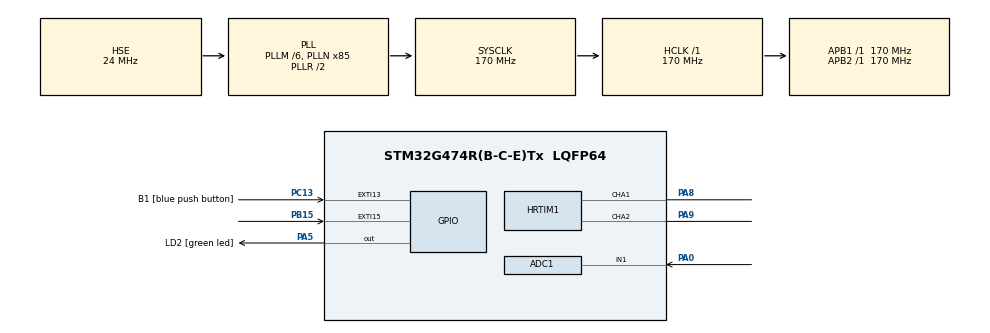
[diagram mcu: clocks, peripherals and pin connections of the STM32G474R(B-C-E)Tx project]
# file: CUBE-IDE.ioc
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ADC1.Channel-0\#ChannelRegularConversion=ADC_CHANNEL_1
ADC1.NbrOfConversionFlag=1
ADC1.OffsetNumber-0\#ChannelRegularConversion=ADC_OFFSET_NONE
ADC1.Rank-0\#ChannelRegularConversion=1
ADC1.SamplingTime-0\#ChannelRegularConversion=ADC_SAMPLETIME_12CYCLES_5
ADC1.master=1
HRTIM1.CompareUnit1-Output_TA1TA2=HRTIM_COMPAREUNIT_1
HRTIM1.CompareUnit2-Output_TA1TA2=HRTIM_COMPAREUNIT_2
HRTIM1.CompareUnit3-Output_TA1TA2=HRTIM_COMPAREUNIT_3
HRTIM1.CompareValue1-Output_TA1TA2=0
HRTIM1.CompareValue2-Output_TA1TA2=16320
HRTIM1.CompareValue3-Output_TA1TA2=0
HRTIM1.NumberResetSource1-Output_TA1TA2=1
HRTIM1.NumberResetSource2_TA=1
HRTIM1.NumberSetSource1-Output_TA1TA2=1
HRTIM1.NumberSetSource2_TA=1
HRTIM1.NumberUpdateTrigger-Output_TA1TA2=1
HRTIM1.Periode_TA=17000
HRTIM1.PreloadEnable-Output_TA1TA2=HRTIM_PRELOAD_ENABLED
HRTIM1.PrescalerRatio_TA=HRTIM_PRESCALERRATIO_MUL4
HRTIM1.ResetOutput1_Source1-Output_TA1TA2=HRTIM_OUTPUTRESET_TIMCMP1
HRTIM1.ResetOutput2_Source1-Output_TA1TA2=HRTIM_OUTPUTRESET_TIMCMP2
HRTIM1.ResetUpdate-Output_TA1TA2=HRTIM_TIMUPDATEONRESET_ENABLED
HRTIM1.SetOutput1_Source1-Output_TA1TA2=HRTIM_OUTPUTSET_TIMPER
HRTIM1.SetOutput2_Source1-Output_TA1TA2=HRTIM_OUTPUTSET_TIMCMP3
HRTIM1.UpdateTrigger1-Output_TA1TA2=HRTIM_TIMUPDATETRIGGER_TIMER_A
Mcu.Family=STM32G4
Mcu.Name=STM32G474R(B-C-E)Tx
Mcu.Package=LQFP64
NVIC.EXTI15_10_IRQn=true\:0\:0\:false\:false\:true\:true\:true\:true
NVIC.PriorityGroup=NVIC_PRIORITYGROUP_4
PA0.Mode=IN1-Single-Ended
PA0.Signal=ADC1_IN1
PA13.GPIO_Label=T_SWDIO
PA13.Signal=SYS_JTMS-SWDIO
PA14.GPIO_Label=T_SWCLK
PA14.Signal=SYS_JTCK-SWCLK
PA2.GPIO_Label=LPUART1_TX [STLINKV3E_VCP_RX]
PA2.Signal=LPUART1_TX
PA3.GPIO_Label=LPUART1_RX [STLINKV3E_VCP_TX]
PA3.Signal=LPUART1_RX
PA5.GPIO_Label=LD2 [green led]
PA5.Signal=GPIO_Output
PA8.Mode=Output_TA1TA2
PA8.Signal=HRTIM1_CHA1
PA9.Mode=Output_TA1TA2
PA9.Signal=HRTIM1_CHA2
PB15.GPIO_PuPd=GPIO_PULLUP
PB15.Signal=GPXTI15
PB3.GPIO_Label=T_SWO
PB3.Signal=SYS_JTDO-SWO
PC13.GPIO_Label=B1 [blue push button]
PC13.Signal=GPXTI13
PC14-OSC32_IN.GPIO_Label=RCC_OSC32_IN
PC14-OSC32_IN.Signal=RCC_OSC32_IN
PC15-OSC32_OUT.GPIO_Label=RCC_OSC32_OUT
PC15-OSC32_OUT.Signal=RCC_OSC32_OUT
PF0-OSC_IN.GPIO_Label=RCC_OSC_IN
PF0-OSC_IN.Mode=HSE-External-Oscillator
PF0-OSC_IN.Signal=RCC_OSC_IN
PF1-OSC_OUT.GPIO_Label=RCC_OSC_OUT
PF1-OSC_OUT.Mode=HSE-External-Oscillator
PF1-OSC_OUT.Signal=RCC_OSC_OUT
ProjectManager.HeapSize=0x200
ProjectManager.StackSize=0x400
ProjectManager.TargetToolchain=STM32CubeIDE
RCC.ADC12Freq_Value=170000000
RCC.ADC345Freq_Value=170000000
RCC.AHBFreq_Value=170000000
RCC.APB1Freq_Value=170000000
RCC.APB1TimFreq_Value=170000000
RCC.APB2Freq_Value=170000000
RCC.APB2TimFreq_Value=170000000
RCC.CortexFreq_Value=170000000
RCC.EXTERNAL_CLOCK_VALUE=12288000
RCC.HCLKFreq_Value=170000000
RCC.HSE_VALUE=24000000
RCC.HSI48_VALUE=48000000
RCC.HSI_VALUE=16000000
RCC.LSE_VALUE=32768
RCC.PLLM=RCC_PLLM_DIV6
RCC.PLLN=85
RCC.PLLSourceVirtual=RCC_PLLSOURCE_HSE
RCC.RTCClockSelection=RCC_RTCCLKSOURCE_LSE
RCC.SYSCLKFreq_VALUE=170000000
RCC.SYSCLKSource=RCC_SYSCLKSOURCE_PLLCLK
RCC.USBFreq_Value=170000000
RCC.VCOOutputFreq_Value=340000000
VP_HRTIM1_VS_hrtimMasterTimerNoOutput.Mode=MasterTimer
VP_SYS_VS_DBSignals.Mode=DisableDeadBatterySignals
board=NUCLEO-G474RE

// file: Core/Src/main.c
/* USER CODE BEGIN Header */
/**
  ******************************************************************************
  * @file           : main.c
  * @brief          : H-Bridge Motor Control — Complementary PWM with Dead-Time
  *
  * Architecture:
  *   - HRTIM Timer A: 40 kHz complementary PWM on TA1 / TA2
  *   - ADC1 Ch1    : Analogue duty-cycle reference (0–3.3 V → 0–1 duty)
  *   - PC13 (B1)   : Stop button  — triggers controlled ramp-down (State 2)
  *   - PB15        : Direction button — toggles direction A / B (State 0 / 1)
  *   - LD2 (PA5)   : Heartbeat / status LED
  *
  * Timing constants (f_HRCK = 170 MHz × 4 = 680 MHz):
  *   PER  = 680 MHz / 40 kHz = 17 000 ticks  (Timer A period)
  *   DT   = 1 µs × 680 MHz  =    680 ticks  (dead-time gap)
  *   CMP2 = PER − DT         = 16 320 ticks  (TA2 fixed reset for end-of-cycle DT)
  *
  * PWM event table:
  *   TA1 SET   ← Period event  (t = 0)          High-side ON
  *   TA1 RESET ← CMP1          (t = duty×PER)   High-side OFF
  *   TA2 SET   ← CMP3          (t = CMP1+680)   Low-side ON  (after 1 µs DT)
  *   TA2 RESET ← CMP2          (t = 16 320)     Low-side OFF (before next cycle)
  *
  * Control states:
  *   State 0  — Direction A : PWM drives TA1/TA2 (forward)
  *   State 1  — Direction B : PWM drives TA1/TA2 (reverse, complemented)
  *   State 2  — Stop        : Integrator ramps duty to 0, then outputs disabled
  ******************************************************************************
  */
/* USER CODE END Header */
#include "main.h"
#include <stdint.h>
#include <stdbool.h>

/* USER CODE BEGIN PTD */
typedef enum {
    STATE_DIR_A = 0,   /*!< Direction A — TA1 is the "driven" output */
    STATE_DIR_B = 1,   /*!< Direction B — TA2 is the "driven" output (phase reversed) */
    STATE_STOP  = 2    /*!< Controlled ramp-down to zero duty, then disable */
} MotorState_t;

/* USER CODE END PTD */

/* USER CODE BEGIN PD */

/* ── HRTIM timing constants ─────────────────────────────────────────────── */
#define HRTIM_PERIOD_TICKS      17000U   /*!< Timer A period  (680 MHz / 40 kHz) */
#define HRTIM_DT_TICKS            680U   /*!< Dead-time ticks (1 µs × 680 MHz)   */
#define HRTIM_CMP2_TICKS        16320U   /*!< Fixed TA2 reset = PER − DT          */

/* HRTIM enforces a minimum compare value of 3 ticks for correct operation.  */
#define HRTIM_CMP_MIN               3U

/* ── Duty-cycle limits (normalised 0.0 – 1.0) ───────────────────────────── */
#define DUTY_MIN                 0.0f
#define DUTY_MAX                 1.0f

/* ── Master ramp integrator ─────────────────────────────────────────────── */
/* Rate at which duty tracks the ADC reference per control loop iteration.   */
/* Tune RAMP_RATE to set acceleration / deceleration aggressiveness.         */
#define RAMP_RATE               0.001f   /*!< Δ duty per loop tick             */

/* ── ADC full-scale count for 12-bit resolution ─────────────────────────── */
#define ADC_FULL_SCALE          4095.0f

/* USER CODE END PD */

/* USER CODE BEGIN PM */
/** Clamp a float value between lo and hi */
#define CLAMP_F(x, lo, hi)  ( (x) < (lo) ? (lo) : ( (x) > (hi) ? (hi) : (x) ) )
/* USER CODE END PM */

ADC_HandleTypeDef hadc1;

HRTIM_HandleTypeDef hhrtim1;

/* USER CODE BEGIN PV */
/* ── Motor state machine ────────────────────────────────────────────────── */
static volatile MotorState_t motorState     = STATE_DIR_A;
static volatile MotorState_t dirBeforeStop  = STATE_DIR_A;  /* restored on stop exit */
static volatile bool         stopPend       = false;
static volatile bool         dirTogglePend  = false;
/* ── Master ramp integrator output (0.0 – 1.0) ──────────────────────────── */
static float 				 masterDuty = 0.0f;
static float                 stopDuty       = 0.0f;  /* ramp-down integrator */
/* USER CODE END PV */

void SystemClock_Config(void);
static void MX_GPIO_Init(void);
static void MX_ADC1_Init(void);
static void MX_HRTIM1_Init(void);

static void     Motor_DisableAll(void);
static void     Motor_SetDirA(float duty);
static void     Motor_SetDirB(float duty);
static float    ADC_ReadDutyReference(void);
static uint32_t Duty_ToTicks(float duty);

/* USER CODE END PFP */

/* USER CODE BEGIN 0 */

/* ---------------------------------------------------------------------------
 * Duty_ToTicks
 * Converts normalised duty [0.0, 1.0] → HRTIM compare ticks.
 * Enforces hardware minimum of HRTIM_CMP_MIN (3 ticks).
 * --------------------------------------------------------------------------*/
static uint32_t Duty_ToTicks(float duty)
{
    uint32_t ticks = (uint32_t)(duty * (float)HRTIM_PERIOD_TICKS);
    if (ticks < HRTIM_CMP_MIN)      ticks = HRTIM_CMP_MIN;
    if (ticks > HRTIM_PERIOD_TICKS) ticks = HRTIM_PERIOD_TICKS;
    return ticks;
}

/* ---------------------------------------------------------------------------
 * Motor_Start
 * Arms the HRTIM Timer A counter with safe near-zero compare values.
 * Both outputs remain idle (LOW) until Motor_SetDirA / Motor_SetDirB is
 * called on the next loop tick.
 *
 * Safe to call more than once — re-arms the counter after Motor_DisableAll
 * without reconfiguring the output waveform event sources.
 * --------------------------------------------------------------------------*/
static void Motor_Start(void)
{
    HRTIM_CompareCfgTypeDef cmp = {0};

    /* CMP1 — TA1 turn-off (start at minimum, i.e. near-zero duty) */
    cmp.CompareValue = HRTIM_CMP_MIN;
    HAL_HRTIM_WaveformCompareConfig(&hhrtim1, HRTIM_TIMERINDEX_TIMER_A,
                                    HRTIM_COMPAREUNIT_1, &cmp);

    /* CMP2 — fixed TA2 RESET (end-of-cycle dead-time) */
    cmp.CompareValue       = HRTIM_CMP2_TICKS;
    cmp.AutoDelayedMode    = HRTIM_AUTODELAYEDMODE_REGULAR;
    cmp.AutoDelayedTimeout = 0x0000;
    HAL_HRTIM_WaveformCompareConfig(&hhrtim1, HRTIM_TIMERINDEX_TIMER_A,
                                    HRTIM_COMPAREUNIT_2, &cmp);

    /* CMP3 — TA2 SET point (start at minimum + dead-time) */
    cmp.CompareValue = HRTIM_CMP_MIN + HRTIM_DT_TICKS;
    HAL_HRTIM_WaveformCompareConfig(&hhrtim1, HRTIM_TIMERINDEX_TIMER_A,
                                    HRTIM_COMPAREUNIT_3, &cmp);

    /* Start the counter; outputs are individually gated by direction fns */
    HAL_HRTIM_WaveformCountStart(&hhrtim1, HRTIM_TIMERID_TIMER_A);
}

/* ---------------------------------------------------------------------------
 * Motor_DisableAll
 * Stops both HRTIM outputs and the Timer A counter.
 * Must only be called once masterDuty has reached 0.
 * --------------------------------------------------------------------------*/
static void Motor_DisableAll(void)
{
    HAL_HRTIM_WaveformOutputStop(&hhrtim1,
                                 HRTIM_OUTPUT_TA1 | HRTIM_OUTPUT_TA2);
    HAL_HRTIM_WaveformCountStop(&hhrtim1, HRTIM_TIMERID_TIMER_A);
}

/* ---------------------------------------------------------------------------
 * Motor_SetDirA  (PB15 = 0)
 * TA1 = PWM output,  TA2 = forced idle LOW.
 *
 *   TA1 SET   ← Period event (t = 0)
 *   TA1 RESET ← CMP1        (t = duty × PER)
 * --------------------------------------------------------------------------*/
static void Motor_SetDirA(float duty)
{
    duty = CLAMP_F(duty, DUTY_MIN, DUTY_MAX);

    HRTIM_CompareCfgTypeDef cmp = {0};
    cmp.CompareValue = Duty_ToTicks(duty);
    HAL_HRTIM_WaveformCompareConfig(&hhrtim1, HRTIM_TIMERINDEX_TIMER_A,
                                    HRTIM_COMPAREUNIT_1, &cmp);

    /* Ensure TA2 is off before enabling TA1 */
    HAL_HRTIM_WaveformOutputStop(&hhrtim1, HRTIM_OUTPUT_TA2);
    HAL_HRTIM_WaveformOutputStart(&hhrtim1, HRTIM_OUTPUT_TA1);
}

/* ---------------------------------------------------------------------------
 * Motor_SetDirB  (direction latch = STATE_DIR_B)
 * TA2 = PWM complement output,  TA1 = forced idle LOW.
 *
 * Effective TA2 on-time = (CMP2 − CMP3) / PER
 *                       = (16320 − (CMP1 + 680)) / 17000
 *
 * As masterDuty increases, CMP1 increases, CMP3 increases, and the
 * TA2 pulse shrinks — this is the complement relationship.
 * At duty = 0: CMP3 = 683,  TA2 on-time ≈ (16320−683)/17000 ≈ 92 %
 * At duty = 1: CMP3 ≥ PER,  TA2 on-time → 0  (guard clamps CMP3)
 *
 * Dead-time is preserved on both edges:
 *   Rising  DT : CMP3 = CMP1 + 680  (1 µs after TA1 would have turned off)
 *   Falling DT : CMP2 = 16320       (1 µs before period boundary)
 * --------------------------------------------------------------------------*/
static void Motor_SetDirB(float duty)
{
    duty = CLAMP_F(duty, DUTY_MIN, DUTY_MAX);

    HRTIM_CompareCfgTypeDef cmp = {0};

    uint32_t cmp1Ticks = Duty_ToTicks(duty);
    uint32_t cmp3Ticks = cmp1Ticks + HRTIM_DT_TICKS;

    /* Guard: CMP3 must not reach or exceed the period */
    if (cmp3Ticks >= HRTIM_PERIOD_TICKS)
        cmp3Ticks = HRTIM_PERIOD_TICKS - 1U;

    /* CMP3 — TA2 turn-on point */
    cmp.CompareValue = cmp3Ticks;
    HAL_HRTIM_WaveformCompareConfig(&hhrtim1, HRTIM_TIMERINDEX_TIMER_A,
                                    HRTIM_COMPAREUNIT_3, &cmp);

    /* CMP2 — TA2 turn-off point (fixed, never changes) */
    cmp.CompareValue       = HRTIM_CMP2_TICKS;
    cmp.AutoDelayedMode    = HRTIM_AUTODELAYEDMODE_REGULAR;
    cmp.AutoDelayedTimeout = 0x0000;
    HAL_HRTIM_WaveformCompareConfig(&hhrtim1, HRTIM_TIMERINDEX_TIMER_A,
                                    HRTIM_COMPAREUNIT_2, &cmp);

    /* Ensure TA1 is off before enabling TA2 */
    HAL_HRTIM_WaveformOutputStop(&hhrtim1, HRTIM_OUTPUT_TA1);
    HAL_HRTIM_WaveformOutputStart(&hhrtim1, HRTIM_OUTPUT_TA2);
}

/* ---------------------------------------------------------------------------
 * ADC_ReadDutyReference
 * Software-triggered single conversion on ADC1 CH1.
 * Returns normalised [0.0, 1.0].
 * --------------------------------------------------------------------------*/
static float ADC_ReadDutyReference(void)
{
    HAL_ADC_Start(&hadc1);
    if (HAL_ADC_PollForConversion(&hadc1, 10) == HAL_OK)
    {
        uint32_t raw  = HAL_ADC_GetValue(&hadc1);
        float    duty = (float)raw / ADC_FULL_SCALE;
        HAL_ADC_Stop(&hadc1);
        return CLAMP_F(duty, DUTY_MIN, DUTY_MAX);
    }
    HAL_ADC_Stop(&hadc1);
    return 0.0f;
}

/* ---------------------------------------------------------------------------
 * HAL_GPIO_EXTI_Callback
 *
 * PC13 (B1_Pin) — configured RISING edge, GPIO_NOPULL (board has external
 *                 pull-down). Sets stopPend; main loop handles stop/resume
 *                 toggle. No debounce — mechanical bounce may fire twice but
 *                 the toggle-on-flag pattern absorbs a double-set cleanly.
 *
 * PB15          — configured RISING edge, GPIO_PULLUP. Sets dirTogglePend;
 *                 main loop flips direction latch. Ignored while STATE_STOP.
 *
 * Only boolean flags are written here — no HAL calls, no state writes,
 * keeping ISR execution under 10 clock cycles.
 * --------------------------------------------------------------------------*/
void HAL_GPIO_EXTI_Callback(uint16_t GPIO_Pin)
{
    if (GPIO_Pin == B1_Pin)
    {
        stopPend = true;          /* PC13 — stop or resume */
    }

    if (GPIO_Pin == GPIO_PIN_15)
    {
        dirTogglePend = true;     /* PB15 — latch direction toggle */
    }
}
/* USER CODE END 0 */

int main(void)
{

  /* MCU Configuration--------------------------------------------------------*/

  /* Reset of all peripherals, Initializes the Flash interface and the Systick. */
  HAL_Init();

  /* Configure the system clock */
  SystemClock_Config();

  /* Initialize all configured peripherals */
  MX_GPIO_Init();
  MX_ADC1_Init();
  MX_HRTIM1_Init();
  /* USER CODE BEGIN 2 */

  /* Calibrate ADC before first conversion */
  HAL_ADCEx_Calibration_Start(&hadc1, ADC_SINGLE_ENDED);

  /* Start HRTIM outputs — both channels enabled; duty held at 0 until
     the integrator ramps up from the ADC reference.                     */
  Motor_Start();

  /* USER CODE END 2 */

  /* Infinite loop */
  /* USER CODE BEGIN WHILE */
  /* ── Control loop — 10 ms tick ─────────────────────────────────────────
     *
     *  Each iteration:
     *    1. Consume ISR flags (direction toggle, stop/resume)
     *    2. Read ADC pot → adcDuty  [0.0, 1.0]
     *    3. Running : masterDuty = adcDuty  (instant, no ramp)
     *       Stopping: stopDuty  -= RAMP_RATE per tick until 0
     *    4. Drive correct HRTIM output or cut power when ramp complete
     *
     *  STATE_STOP entered on first PC13 press  → ramp-down begins
     *  STATE_STOP exited  on second PC13 press → direction restored, re-armed
     * ───────────────────────────────────────────────────────────────────── */
  while (1)
  {
    /* USER CODE END WHILE */

    /* USER CODE BEGIN 3 */
	  /* ── 1. Service direction toggle (ISR latched) ──────────────────── */
	        if (dirTogglePend && (motorState != STATE_STOP))
	        {
	            dirTogglePend = false;
	            motorState    = (motorState == STATE_DIR_A) ? STATE_DIR_B : STATE_DIR_A;
	            dirBeforeStop = motorState;
	        }

	        /* ── 2. Service stop / resume button ────────────────────────────── */
	        if (stopPend)
	        {
	            stopPend = false;
	            if (motorState == STATE_STOP)
	            {
	                /* Second press — exit stop, restore direction */
	                motorState = dirBeforeStop;
	                HAL_GPIO_WritePin(LD2_GPIO_Port, LD2_Pin, GPIO_PIN_RESET);
	            }
	            else
	            {
	                /* First press — snapshot current duty and begin ramp-down */
	                dirBeforeStop = motorState;
	                stopDuty      = masterDuty;   /* start ramp from current level */
	                motorState    = STATE_STOP;
	            }
	        }

	        /* ── 3. Read ADC — direct assign for running states ─────────────── */
	        float adcDuty = ADC_ReadDutyReference();

	        /* ── 4. Apply duty to active output ─────────────────────────────── */
	        if (motorState == STATE_STOP)
	        {
	            /* Ramp stopDuty down to 0 at RAMP_RATE per 10 ms tick */
	            stopDuty -= RAMP_RATE;
	            if (stopDuty < 0.0f) stopDuty = 0.0f;

	            if (stopDuty <= 0.0f)
	            {
	                /* Ramp complete — cut outputs */
	                Motor_DisableAll();
	                HAL_GPIO_WritePin(LD2_GPIO_Port, LD2_Pin, GPIO_PIN_SET);
	            }
	            else
	            {
	            	/* Still ramping — drive the output that was active at stop time.
					 * motorState is STATE_STOP so we cannot use it to select the
					 * output; dirBeforeStop holds the pre-stop direction snapshot.  */
	                if (dirBeforeStop == STATE_DIR_A)
	                    Motor_SetDirA(stopDuty);
	                else
	                    Motor_SetDirB(stopDuty);
	            }
	        }
	        else if (motorState == STATE_DIR_A)
	        {
	            masterDuty = adcDuty;   /* instant ADC tracking */
	            HAL_GPIO_WritePin(LD2_GPIO_Port, LD2_Pin, GPIO_PIN_RESET);
	            if (HAL_HRTIM_WaveformGetOutputState(&hhrtim1,
	                    HRTIM_TIMERINDEX_TIMER_A, HRTIM_OUTPUT_TA1)
	                != HRTIM_OUTPUTSTATE_RUN)
	            {
	                Motor_Start();
	            }
	            Motor_SetDirA(masterDuty);
	        }
	        else   /* STATE_DIR_B */
	        {
	            masterDuty = adcDuty;   /* instant ADC tracking */
	            HAL_GPIO_WritePin(LD2_GPIO_Port, LD2_Pin, GPIO_PIN_RESET);
	            if (HAL_HRTIM_WaveformGetOutputState(&hhrtim1,
	                    HRTIM_TIMERINDEX_TIMER_A, HRTIM_OUTPUT_TA2)
	                != HRTIM_OUTPUTSTATE_RUN)
	            {
	                Motor_Start();
	            }
	            Motor_SetDirB(masterDuty);
	        }

	        HAL_Delay(10);

  }
  /* USER CODE END 3 */
}

void SystemClock_Config(void)
{
  RCC_OscInitTypeDef RCC_OscInitStruct = {0};
  RCC_ClkInitTypeDef RCC_ClkInitStruct = {0};

  /** Configure the main internal regulator output voltage
  */
  HAL_PWREx_ControlVoltageScaling(PWR_REGULATOR_VOLTAGE_SCALE1_BOOST);

  /** Initializes the RCC Oscillators according to the specified parameters
  * in the RCC_OscInitTypeDef structure.
  */
  RCC_OscInitStruct.OscillatorType = RCC_OSCILLATORTYPE_HSE;
  RCC_OscInitStruct.HSEState = RCC_HSE_ON;
  RCC_OscInitStruct.PLL.PLLState = RCC_PLL_ON;
  RCC_OscInitStruct.PLL.PLLSource = RCC_PLLSOURCE_HSE;
  RCC_OscInitStruct.PLL.PLLM = RCC_PLLM_DIV6;
  RCC_OscInitStruct.PLL.PLLN = 85;
  RCC_OscInitStruct.PLL.PLLP = RCC_PLLP_DIV2;
  RCC_OscInitStruct.PLL.PLLQ = RCC_PLLQ_DIV2;
  RCC_OscInitStruct.PLL.PLLR = RCC_PLLR_DIV2;
  if (HAL_RCC_OscConfig(&RCC_OscInitStruct) != HAL_OK)
  {
    Error_Handler();
  }

  /** Initializes the CPU, AHB and APB buses clocks
  */
  RCC_ClkInitStruct.ClockType = RCC_CLOCKTYPE_HCLK|RCC_CLOCKTYPE_SYSCLK
                              |RCC_CLOCKTYPE_PCLK1|RCC_CLOCKTYPE_PCLK2;
  RCC_ClkInitStruct.SYSCLKSource = RCC_SYSCLKSOURCE_PLLCLK;
  RCC_ClkInitStruct.AHBCLKDivider = RCC_SYSCLK_DIV1;
  RCC_ClkInitStruct.APB1CLKDivider = RCC_HCLK_DIV1;
  RCC_ClkInitStruct.APB2CLKDivider = RCC_HCLK_DIV1;

  if (HAL_RCC_ClockConfig(&RCC_ClkInitStruct, FLASH_LATENCY_4) != HAL_OK)
  {
    Error_Handler();
  }
}

static void MX_ADC1_Init(void)
{

  ADC_MultiModeTypeDef multimode = {0};
  ADC_ChannelConfTypeDef sConfig = {0};

  /** Common config
  */
  hadc1.Instance = ADC1;
  hadc1.Init.ClockPrescaler = ADC_CLOCK_SYNC_PCLK_DIV4;
  hadc1.Init.Resolution = ADC_RESOLUTION_12B;
  hadc1.Init.DataAlign = ADC_DATAALIGN_RIGHT;
  hadc1.Init.GainCompensation = 0;
  hadc1.Init.ScanConvMode = ADC_SCAN_DISABLE;
  hadc1.Init.EOCSelection = ADC_EOC_SINGLE_CONV;
  hadc1.Init.LowPowerAutoWait = DISABLE;
  hadc1.Init.ContinuousConvMode = DISABLE;
  hadc1.Init.NbrOfConversion = 1;
  hadc1.Init.DiscontinuousConvMode = DISABLE;
  hadc1.Init.ExternalTrigConv = ADC_SOFTWARE_START;
  hadc1.Init.ExternalTrigConvEdge = ADC_EXTERNALTRIGCONVEDGE_NONE;
  hadc1.Init.DMAContinuousRequests = DISABLE;
  hadc1.Init.Overrun = ADC_OVR_DATA_PRESERVED;
  hadc1.Init.OversamplingMode = DISABLE;
  if (HAL_ADC_Init(&hadc1) != HAL_OK)
  {
    Error_Handler();
  }

  /** Configure the ADC multi-mode
  */
  multimode.Mode = ADC_MODE_INDEPENDENT;
  if (HAL_ADCEx_MultiModeConfigChannel(&hadc1, &multimode) != HAL_OK)
  {
    Error_Handler();
  }

  /** Configure Regular Channel
  */
  sConfig.Channel = ADC_CHANNEL_1;
  sConfig.Rank = ADC_REGULAR_RANK_1;
  sConfig.SamplingTime = ADC_SAMPLETIME_12CYCLES_5;
  sConfig.SingleDiff = ADC_SINGLE_ENDED;
  sConfig.OffsetNumber = ADC_OFFSET_NONE;
  sConfig.Offset = 0;
  if (HAL_ADC_ConfigChannel(&hadc1, &sConfig) != HAL_OK)
  {
    Error_Handler();
  }

}

static void MX_HRTIM1_Init(void)
{

  HRTIM_TimeBaseCfgTypeDef pTimeBaseCfg = {0};
  HRTIM_TimerCfgTypeDef pTimerCfg = {0};
  HRTIM_TimerCtlTypeDef pTimerCtl = {0};
  HRTIM_CompareCfgTypeDef pCompareCfg = {0};
  HRTIM_OutputCfgTypeDef pOutputCfg = {0};

  hhrtim1.Instance = HRTIM1;
  hhrtim1.Init.HRTIMInterruptResquests = HRTIM_IT_NONE;
  hhrtim1.Init.SyncOptions = HRTIM_SYNCOPTION_NONE;
  if (HAL_HRTIM_Init(&hhrtim1) != HAL_OK)
  {
    Error_Handler();
  }
  if (HAL_HRTIM_DLLCalibrationStart(&hhrtim1, HRTIM_CALIBRATIONRATE_3) != HAL_OK)
  {
    Error_Handler();
  }
  if (HAL_HRTIM_PollForDLLCalibration(&hhrtim1, 10) != HAL_OK)
  {
    Error_Handler();
  }
  pTimeBaseCfg.Period = 0xFFDF;
  pTimeBaseCfg.RepetitionCounter = 0x00;
  pTimeBaseCfg.PrescalerRatio = HRTIM_PRESCALERRATIO_MUL32;
  pTimeBaseCfg.Mode = HRTIM_MODE_CONTINUOUS;
  if (HAL_HRTIM_TimeBaseConfig(&hhrtim1, HRTIM_TIMERINDEX_MASTER, &pTimeBaseCfg) != HAL_OK)
  {
    Error_Handler();
  }
  pTimerCfg.InterruptRequests = HRTIM_MASTER_IT_NONE;
  pTimerCfg.DMARequests = HRTIM_MASTER_DMA_NONE;
  pTimerCfg.DMASrcAddress = 0x0000;
  pTimerCfg.DMADstAddress = 0x0000;
  pTimerCfg.DMASize = 0x1;
  pTimerCfg.HalfModeEnable = HRTIM_HALFMODE_DISABLED;
  pTimerCfg.InterleavedMode = HRTIM_INTERLEAVED_MODE_DISABLED;
  pTimerCfg.StartOnSync = HRTIM_SYNCSTART_DISABLED;
  pTimerCfg.ResetOnSync = HRTIM_SYNCRESET_DISABLED;
  pTimerCfg.DACSynchro = HRTIM_DACSYNC_NONE;
  pTimerCfg.PreloadEnable = HRTIM_PRELOAD_DISABLED;
  pTimerCfg.UpdateGating = HRTIM_UPDATEGATING_INDEPENDENT;
  pTimerCfg.BurstMode = HRTIM_TIMERBURSTMODE_MAINTAINCLOCK;
  pTimerCfg.RepetitionUpdate = HRTIM_UPDATEONREPETITION_DISABLED;
  pTimerCfg.ReSyncUpdate = HRTIM_TIMERESYNC_UPDATE_UNCONDITIONAL;
  if (HAL_HRTIM_WaveformTimerConfig(&hhrtim1, HRTIM_TIMERINDEX_MASTER, &pTimerCfg) != HAL_OK)
  {
    Error_Handler();
  }
  pTimeBaseCfg.Period = 17000;
  pTimeBaseCfg.PrescalerRatio = HRTIM_PRESCALERRATIO_MUL4;
  if (HAL_HRTIM_TimeBaseConfig(&hhrtim1, HRTIM_TIMERINDEX_TIMER_A, &pTimeBaseCfg) != HAL_OK)
  {
    Error_Handler();
  }
  pTimerCtl.UpDownMode = HRTIM_TIMERUPDOWNMODE_UP;
  pTimerCtl.TrigHalf = HRTIM_TIMERTRIGHALF_DISABLED;
  pTimerCtl.GreaterCMP3 = HRTIM_TIMERGTCMP3_EQUAL;
  pTimerCtl.GreaterCMP1 = HRTIM_TIMERGTCMP1_EQUAL;
  pTimerCtl.DualChannelDacEnable = HRTIM_TIMER_DCDE_DISABLED;
  if (HAL_HRTIM_WaveformTimerControl(&hhrtim1, HRTIM_TIMERINDEX_TIMER_A, &pTimerCtl) != HAL_OK)
  {
    Error_Handler();
  }
  pTimerCfg.InterruptRequests = HRTIM_TIM_IT_NONE;
  pTimerCfg.DMARequests = HRTIM_TIM_DMA_NONE;
  pTimerCfg.PreloadEnable = HRTIM_PRELOAD_ENABLED;
  pTimerCfg.PushPull = HRTIM_TIMPUSHPULLMODE_DISABLED;
  pTimerCfg.FaultEnable = HRTIM_TIMFAULTENABLE_NONE;
  pTimerCfg.FaultLock = HRTIM_TIMFAULTLOCK_READWRITE;
  pTimerCfg.DeadTimeInsertion = HRTIM_TIMDEADTIMEINSERTION_DISABLED;
  pTimerCfg.DelayedProtectionMode = HRTIM_TIMER_A_B_C_DELAYEDPROTECTION_DISABLED;
  pTimerCfg.UpdateTrigger = HRTIM_TIMUPDATETRIGGER_TIMER_A;
  pTimerCfg.ResetTrigger = HRTIM_TIMRESETTRIGGER_NONE;
  pTimerCfg.ResetUpdate = HRTIM_TIMUPDATEONRESET_ENABLED;
  if (HAL_HRTIM_WaveformTimerConfig(&hhrtim1, HRTIM_TIMERINDEX_TIMER_A, &pTimerCfg) != HAL_OK)
  {
    Error_Handler();
  }
  pCompareCfg.CompareValue = 0;
  if (HAL_HRTIM_WaveformCompareConfig(&hhrtim1, HRTIM_TIMERINDEX_TIMER_A, HRTIM_COMPAREUNIT_1, &pCompareCfg) != HAL_OK)
  {
    Error_Handler();
  }
  pCompareCfg.CompareValue = 16320;
  pCompareCfg.AutoDelayedMode = HRTIM_AUTODELAYEDMODE_REGULAR;
  pCompareCfg.AutoDelayedTimeout = 0x0000;

  if (HAL_HRTIM_WaveformCompareConfig(&hhrtim1, HRTIM_TIMERINDEX_TIMER_A, HRTIM_COMPAREUNIT_2, &pCompareCfg) != HAL_OK)
  {
    Error_Handler();
  }
  pCompareCfg.CompareValue = 0;
  if (HAL_HRTIM_WaveformCompareConfig(&hhrtim1, HRTIM_TIMERINDEX_TIMER_A, HRTIM_COMPAREUNIT_3, &pCompareCfg) != HAL_OK)
  {
    Error_Handler();
  }
  pOutputCfg.Polarity = HRTIM_OUTPUTPOLARITY_HIGH;
  pOutputCfg.SetSource = HRTIM_OUTPUTSET_TIMPER;
  pOutputCfg.ResetSource = HRTIM_OUTPUTRESET_TIMCMP1;
  pOutputCfg.IdleMode = HRTIM_OUTPUTIDLEMODE_NONE;
  pOutputCfg.IdleLevel = HRTIM_OUTPUTIDLELEVEL_INACTIVE;
  pOutputCfg.FaultLevel = HRTIM_OUTPUTFAULTLEVEL_NONE;
  pOutputCfg.ChopperModeEnable = HRTIM_OUTPUTCHOPPERMODE_DISABLED;
  pOutputCfg.BurstModeEntryDelayed = HRTIM_OUTPUTBURSTMODEENTRY_REGULAR;
  if (HAL_HRTIM_WaveformOutputConfig(&hhrtim1, HRTIM_TIMERINDEX_TIMER_A, HRTIM_OUTPUT_TA1, &pOutputCfg) != HAL_OK)
  {
    Error_Handler();
  }
  pOutputCfg.SetSource = HRTIM_OUTPUTSET_TIMCMP3;
  pOutputCfg.ResetSource = HRTIM_OUTPUTRESET_TIMCMP2;
  if (HAL_HRTIM_WaveformOutputConfig(&hhrtim1, HRTIM_TIMERINDEX_TIMER_A, HRTIM_OUTPUT_TA2, &pOutputCfg) != HAL_OK)
  {
    Error_Handler();
  }
  HAL_HRTIM_MspPostInit(&hhrtim1);

}

static void MX_GPIO_Init(void)
{
  GPIO_InitTypeDef GPIO_InitStruct = {0};

  /* GPIO Ports Clock Enable */
  __HAL_RCC_GPIOC_CLK_ENABLE();
  __HAL_RCC_GPIOF_CLK_ENABLE();
  __HAL_RCC_GPIOA_CLK_ENABLE();
  __HAL_RCC_GPIOB_CLK_ENABLE();

  /*Configure GPIO pin Output Level */
  HAL_GPIO_WritePin(LD2_GPIO_Port, LD2_Pin, GPIO_PIN_RESET);

  /*Configure GPIO pin : B1_Pin */
  GPIO_InitStruct.Pin = B1_Pin;
  GPIO_InitStruct.Mode = GPIO_MODE_IT_RISING;
  GPIO_InitStruct.Pull = GPIO_NOPULL;
  HAL_GPIO_Init(B1_GPIO_Port, &GPIO_InitStruct);

  /*Configure GPIO pins : LPUART1_TX_Pin LPUART1_RX_Pin */
  GPIO_InitStruct.Pin = LPUART1_TX_Pin|LPUART1_RX_Pin;
  GPIO_InitStruct.Mode = GPIO_MODE_AF_PP;
  GPIO_InitStruct.Pull = GPIO_NOPULL;
  GPIO_InitStruct.Speed = GPIO_SPEED_FREQ_LOW;
  GPIO_InitStruct.Alternate = GPIO_AF12_LPUART1;
  HAL_GPIO_Init(GPIOA, &GPIO_InitStruct);

  /*Configure GPIO pin : LD2_Pin */
  GPIO_InitStruct.Pin = LD2_Pin;
  GPIO_InitStruct.Mode = GPIO_MODE_OUTPUT_PP;
  GPIO_InitStruct.Pull = GPIO_NOPULL;
  GPIO_InitStruct.Speed = GPIO_SPEED_FREQ_LOW;
  HAL_GPIO_Init(LD2_GPIO_Port, &GPIO_InitStruct);

  /*Configure GPIO pin : PB15 */
  GPIO_InitStruct.Pin = GPIO_PIN_15;
  GPIO_InitStruct.Mode = GPIO_MODE_IT_RISING;
  GPIO_InitStruct.Pull = GPIO_PULLUP;
  HAL_GPIO_Init(GPIOB, &GPIO_InitStruct);

  /* EXTI interrupt init*/
  HAL_NVIC_SetPriority(EXTI15_10_IRQn, 0, 0);
  HAL_NVIC_EnableIRQ(EXTI15_10_IRQn);

}

void Error_Handler(void)
{
  __disable_irq();
  while (1)
  {
  }
}
